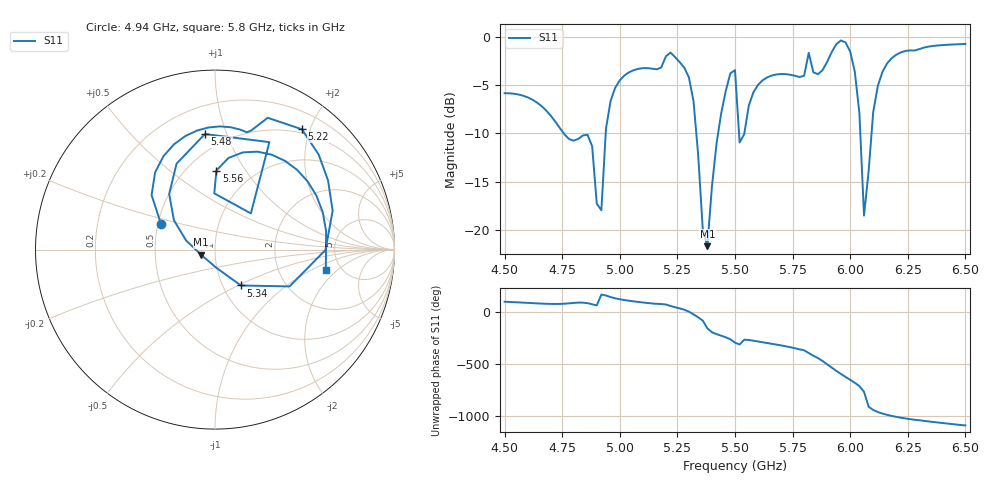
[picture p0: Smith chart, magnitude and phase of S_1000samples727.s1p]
! TOUCHSTONE file generated by CST MICROWAVE STUDIO
! Date and time: Sat Oct 29 04:25:38 2022
! Project name: L.cst
! Parameters = {Di=1.27; Epsilon_r=1.56; InnerDiameter=1.27; Length=2; Lf=10; Lg=60; OuterConductorThickness=0.2921; OuterDiameter=3.6; Wf=3; Wp=41.2; de=1.5; df=6.8; g=0.8; gx=0.456306; gy=0.451451; h=2.34; hf=1.524; px=12.0915; py=14.8114; w=9.7; wx=11.6352; wy=14.36}
! Header version: 2018
! Port assignment regex: !\s*Touchstone port\s*([0-9]+)\s*=\s*(CST MWS port|CST DS port)\s*([0-9]+|Zmin|Zmax)\s*\(\"(.*)\"\)(\s*mode\s*([0-9]+))?.*
! Touchstone port assignment:
! Touchstone port 1 = CST MWS port 1 ("")
# GHz S DB R 50
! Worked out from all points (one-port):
!   101 points, 4.5 GHz to 6.5 GHz, reference 50 ohm
!   lowest |S11| = -21.7 dB at 5.38 GHz (marker M1), VSWR 1.18, Z = 42.7 - j2.46 ohm
!   |S11| at or under -10 dB: 4.757 GHz to 4.939 GHz (182 MHz wide, 3.75 % of centre); 5.332 GHz to 5.427 GHz (94.52 MHz wide, 1.76 % of centre); 5.517498 GHz to 5.540538 GHz (23.04 MHz wide, 0.417 % of centre) (the widest 3 of 4)
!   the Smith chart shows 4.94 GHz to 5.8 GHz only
!   S11 on the Smith chart (normalised r, x): 4.94 GHz: 0.52, +0.17; 5.22 GHz: 0.44, +1.87; 5.34 GHz: 1.22, -0.52; 5.48 GHz: 0.38, +0.84; 5.56 GHz: 0.68, +0.75; 5.8 GHz: 3.80, -1.43
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4.5  -5.85 95.1
4.76  -10.10 76.0
4.86  -10.14 81.2
4.92  -17.94 163.8
4.94  -9.52 154.3
5  -4.51 118.8
5.22  -1.65 54.2
5.26  -2.63 31.5
5.3  -4.21 -0.1
5.34  -12.16 -54.2
5.38  -21.65 -159.8
5.48  -3.79 95.0
5.5  -3.46 63.2
5.52  -10.93 45.3
5.56  -7.12 89.0
5.64  -4.21 59.1
5.76  -4.05 9.4
5.8  -4.05 -10.4
5.82  -1.68 -36.6
5.86  -3.88 -85.1
5.92  -1.59 -176.3
5.96  -0.40 122.4
6  -1.55 66.5
6.02  -3.63 38.1
6.06  -18.49 -48.5
6.12  -5.08 118.2
6.26  -1.42 49.6
6.5  -0.76 -10.5
